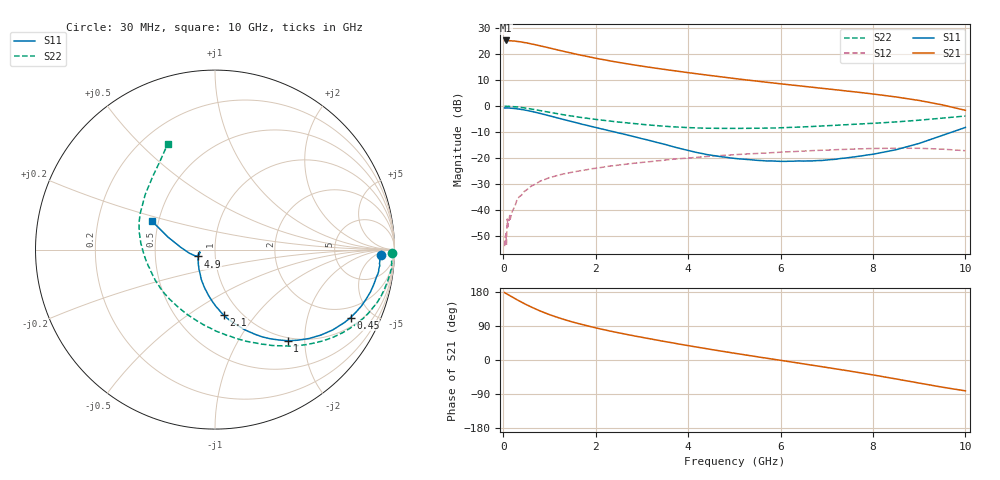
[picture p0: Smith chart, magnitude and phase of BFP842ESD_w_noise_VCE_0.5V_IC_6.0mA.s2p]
! Infineon Technologies  Discrete & RF Semiconductors
! BFP842ESD
! VCE =  0.5 V,  IC =  6.0 mA
! Common Emitter S-Parameters:  May 2012
# GHz  S  MA  R  50
!  f  S11  S21  S12  S22
! GHz  MAG  ANG  MAG  ANG  MAG  ANG  MAG  ANG
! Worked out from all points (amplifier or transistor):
!   99 points, 30 MHz to 10 GHz, reference 50 ohm
!   highest |S21| = 25.3 dB at 60 MHz (marker M1)
!   |S21| within 3 dB of that: start of sweep to 1.025 GHz
!   unconditionally stable (mu >= 1): 3.008 GHz to end of sweep
!   at 350 MHz: K = 0.16, MSG = 29.9 dB, |S12| = -34.9 dB
!   at 3.5 GHz: K = 1.07, MAG = 15.8 dB, |S12| = -20.8 dB
!   at 10 GHz: K = 2.11, MAG = 1.8 dB, |S12| = -17.2 dB
!   lowest NFmin = 0.46 dB at 450 MHz
!   S11 on the Smith chart (normalised r, x): 30 MHz: 22, -8; 450 MHz: 1.41, -3.73; 1 GHz: 0.95, -1.66; 2.1 GHz: 0.83, -0.70; 4.9 GHz: 0.83, -0.06; 10 GHz: 0.46, +0.17
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0.03  0.9242 -1.7  18.2 178.0  0.002 91.2  0.9891 -1.2
0.05  0.9162 -2.8  18.1 176.1  0.0032 158.0  0.988 -2.4
0.06  0.9205 -3.7  18.39 175.5  0.0035 145.6  0.9916 -2.6
0.07  0.9206 -4.1  18.22 175.0  0.0021 63.8  0.9888 -3.3
0.09  0.9228 -5.7  18.02 173.8  0.0067 92.4  0.9884 -4.5
0.11  0.9191 -7.0  18.33 172.0  0.0057 87.2  0.9887 -5.6
0.25  0.8974 -15.3  17.9 162.4  0.0115 75.1  0.9702 -12.8
0.45  0.845 -26.6  16.8 149.2  0.0225 72.5  0.9246 -22.6
0.6  0.7942 -34.3  15.84 140.2  0.0285 65.4  0.8806 -29.0
0.7  0.7582 -38.9  15.19 134.7  0.0315 64.0  0.8501 -32.9
1  0.6497 -51.4  13.18 119.8  0.0419 56.3  0.76 -43.2
1.2  0.5837 -58.3  11.94 111.4  0.0468 52.3  0.7069 -49.1
1.4  0.5248 -64.4  10.88 103.8  0.0512 48.8  0.6596 -54.4
1.7  0.4479 -72.6  9.495 93.9  0.0574 44.6  0.6009 -61.7
2.1  0.3684 -82.3  8.051 82.1  0.0653 39.8  0.5406 -71.0
2.7  0.2748 -95.1  6.485 66.8  0.0769 33.7  0.4724 -84.2
3.4  0.1922 -112.1  5.225 50.9  0.089 26.7  0.4144 -101.8
4.9  0.1006 -157.9  3.49 19.9  0.1139 9.7  0.3718 -141.9
5.1  0.0962 -162.7  3.321 16.1  0.1173 7.4  0.3718 -146.7
6.7  0.088 -166.0  2.302 -14.0  0.1388 -12.3  0.4053 179.1
8.5  0.1443 -172.0  1.499 -50.0  0.1543 -40.9  0.4955 141.7
10  0.3875 155.5  0.829 -81.4  0.1382 -70.7  0.6441 114.2
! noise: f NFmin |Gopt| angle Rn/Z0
0.45  0.46  0.3  2  0.12
0.9  0.48  0.31  9  0.11
1.5  0.5  0.34  19  0.11
1.9  0.52  0.33  26  0.1
2.4  0.54  0.29  39  0.1
3.5  0.64  0.21  81  0.08
4  0.68  0.17  104  0.08
5  0.73  0.17  122  0.07
5.5  0.84  0.16  147  0.08
6  0.97  0.14  161  0.08
